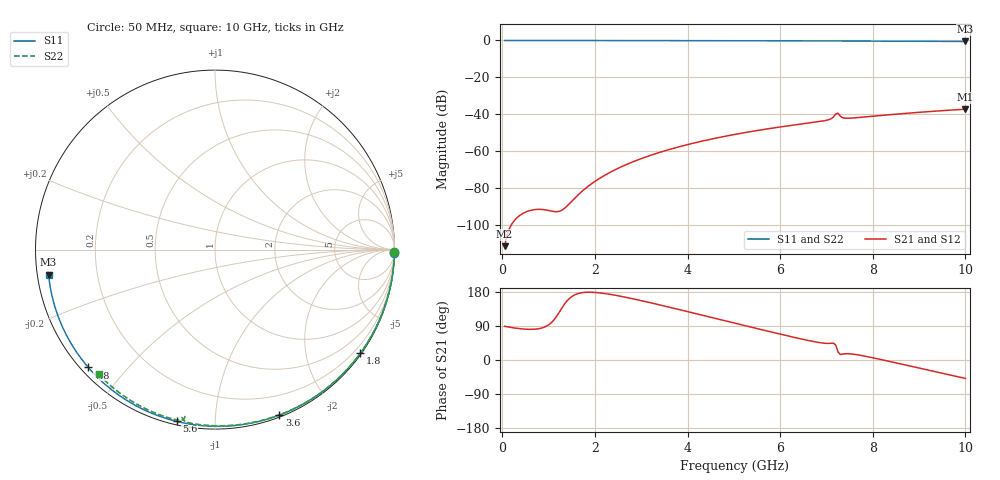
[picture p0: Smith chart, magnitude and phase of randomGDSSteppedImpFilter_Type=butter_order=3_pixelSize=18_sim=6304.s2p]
! freq	dB(S11)	phase(S11)	dB(S12)	phase(S12)
!  dB(S21)	phase(S21)	dB(S22)	phase(S22)
!S-par simulation data
#  GHz  S  DB  R 50
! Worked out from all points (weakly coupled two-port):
!   200 points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, 50 MHz to 10 GHz, reference 50 ohm
!   highest |S21| = -37.28 dB at 10 GHz (marker M1); lowest = -111.6 dB at 50 MHz (marker M2)
!   lowest |S11| = -0.6 dB at 10 GHz (marker M3), VSWR 31.11, Z = 1.62 - j3.76 ohm
!   |S11| at or under -10 dB: nowhere
!   |S22| runs from -0.5 to 0.0 dB; largest |S21 - S12| = 0
!   S11 on the Smith chart (normalised r, x): 50 MHz: open; 1.8 GHz: 0.03, -3.13; 3.6 GHz: 0.02, -1.46; 5.6 GHz: 0.02, -0.80; 7.8 GHz: 0.02, -0.39; 10 GHz: 0.03, -0.08
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0.05  -0.00 -1.0  -111.58 88.9  -111.58 88.9  -0.00 -0.8
0.85  -0.02 -16.9  -91.65 84.3  -91.65 84.3  -0.02 -13.0
1.75  -0.04 -34.5  -81.22 178.1  -81.22 178.1  -0.03 -26.5
1.8  -0.05 -35.4  -80.18 178.6  -80.18 178.6  -0.03 -27.2
2.15  -0.05 -42.1  -74.05 176.5  -74.05 176.5  -0.04 -32.4
2.5  -0.06 -48.7  -69.35 169.5  -69.35 169.5  -0.05 -37.5
2.9  -0.07 -56.1  -65.04 159.4  -65.04 159.4  -0.06 -43.3
3.4  -0.09 -65.2  -60.69 145.4  -60.69 145.4  -0.07 -50.4
3.6  -0.09 -68.7  -59.18 139.6  -59.18 139.6  -0.07 -53.2
4.3  -0.11 -81.0  -54.68 118.8  -54.68 118.8  -0.09 -62.9
5.05  -0.14 -93.6  -50.83 96.3  -50.83 96.3  -0.11 -73.0
5.6  -0.17 -102.6  -48.46 80.0  -48.46 80.0  -0.13 -80.2
6.7  -0.23 -120.1  -44.50 49.3  -44.50 49.3  -0.18 -94.2
7.05  -0.26 -125.5  -42.97 43.8  -42.97 43.8  -0.22 -98.8
7.15  -0.27 -127.1  -41.55 44.4  -41.55 44.4  -0.29 -100.5
7.2  -0.27 -127.8  -39.84 39.5  -39.84 39.5  -0.43 -101.1
7.25  -0.27 -128.6  -39.46 21.2  -39.46 21.2  -0.49 -100.2
7.3  -0.27 -129.4  -41.13 14.6  -41.13 14.6  -0.34 -100.4
7.4  -0.28 -130.9  -42.17 16.4  -42.17 16.4  -0.25 -102.0
7.8  -0.32 -137.1  -41.55 10.9  -41.55 10.9  -0.25 -107.1
8.35  -0.37 -145.5  -40.30 -3.4  -40.30 -3.4  -0.29 -113.7
10  -0.56 -171.4  -37.28 -48.6  -37.28 -48.6  -0.44 -133.0
